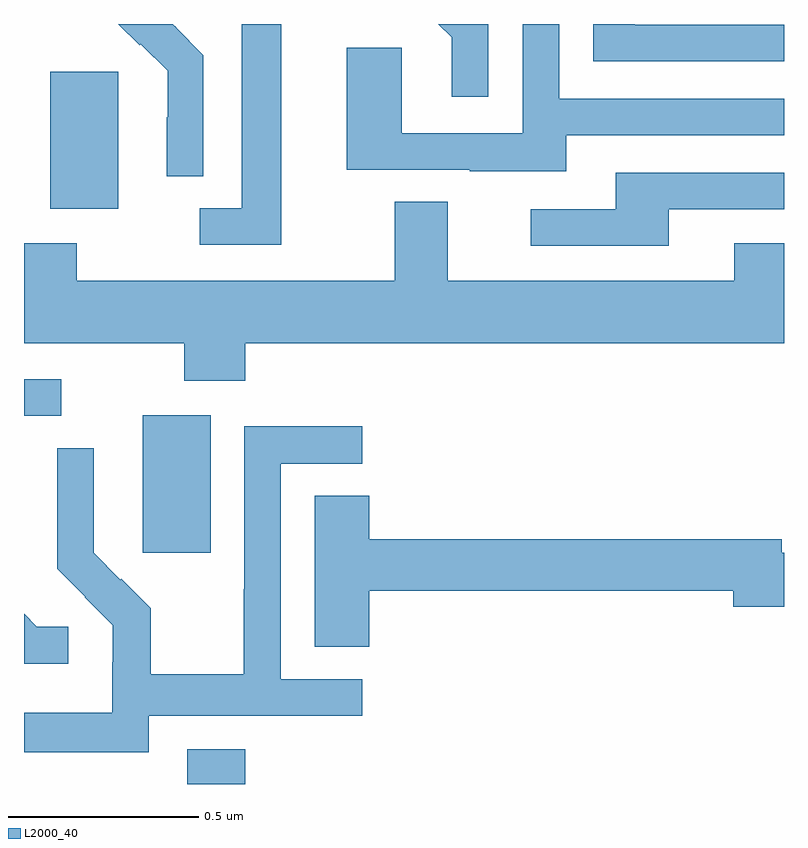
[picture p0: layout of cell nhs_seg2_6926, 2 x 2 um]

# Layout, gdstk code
import gdstk
lib = gdstk.Library(unit=1e-6, precision=1e-09)
def R(c, l, rs):  # rectangles x0, y0, x1, y1
    for r in rs: c.add(gdstk.rectangle(r[:2], r[2:], *l))
def P(c, l, *ps):  # polygons
    for p in ps: c.add(gdstk.Polygon(p, *l))
L2000_40 = (2000, 40)

nhs_seg2_6926 = lib.new_cell('nhs_seg2_6926')
R(nhs_seg2_6926, L2000_40, [(197.429,655.8,197.582,655.891), (197.312,656.409,197.491,656.77), (197,656.769,197.098,656.865), (197.069,657.314,197.248,657.675)])
P(nhs_seg2_6926, L2000_40, [(198.427,657.507),(199,657.507),(199,657.603),(198.408,657.603),(198.408,657.8),(198.312,657.8),(198.312,657.513),(197.994,657.513),(197.994,657.737),(197.849,657.737),(197.849,657.417),(198.173,657.417),(198.173,657.413),(198.427,657.413)],
  [(197.677,657.8),(197.573,657.8),(197.573,657.315),(197.463,657.315),(197.463,657.219),(197.677,657.219)],
  [(198.222,657.8),(198.09,657.8),(198.125,657.765),(198.125,657.609),(198.222,657.609)],
  [(197.472,657.718),(197.399,657.791),(197.4,657.792),(197.392,657.8),(197.248,657.8),(197.304,657.744),(197.307,657.747),(197.378,657.677),(197.378,657.554),(197.376,657.554),(197.376,657.4),(197.472,657.4)],
  [(199,657.798),(198.607,657.798),(198.607,657.8),(198.498,657.8),(198.498,657.702),(199,657.702)],
  [(198.697,657.312),(199,657.312),(199,657.408),(198.557,657.408),(198.557,657.312),(198.333,657.312),(198.333,657.216),(198.697,657.216)],
  [(197.582,656.96),(199,656.96),(199,657.223),(198.869,657.223),(198.869,657.124),(198.115,657.124),(198.115,657.332),(197.975,657.332),(197.975,657.124),(197.139,657.124),(197.139,657.223),(197,657.223),(197,656.96),(197.422,656.96),(197.422,656.861),(197.582,656.861)],
  [(197.328,655.98),(197.89,655.98),(197.89,656.076),(197.676,656.076),(197.676,656.643),(197.89,656.643),(197.89,656.742),(197.58,656.742),(197.58,656.312),(197.578,656.312),(197.578,656.089),(197.333,656.089),(197.333,656.263),(197.256,656.34),(197.253,656.337),(197.183,656.408),(197.183,656.53),(197.184,656.53),(197.184,656.684),(197.088,656.684),(197.088,656.366),(197.161,656.293),(197.16,656.292),(197.234,656.218),(197.234,656.121),(197.232,656.121),(197.232,655.987),(197,655.987),(197,655.883),(197.328,655.883)],
  [(197.909,656.308),(198.866,656.308),(198.866,656.266),(199,656.266),(199,656.408),(198.994,656.408),(198.994,656.444),(197.909,656.444),(197.909,656.558),(197.765,656.558),(197.765,656.161),(197.909,656.161)],
  [(197.116,656.214),(197.034,656.214),(197,656.248),(197,656.117),(197.116,656.117)])

lib.write_gds('nhs_seg2_6926.gds')
